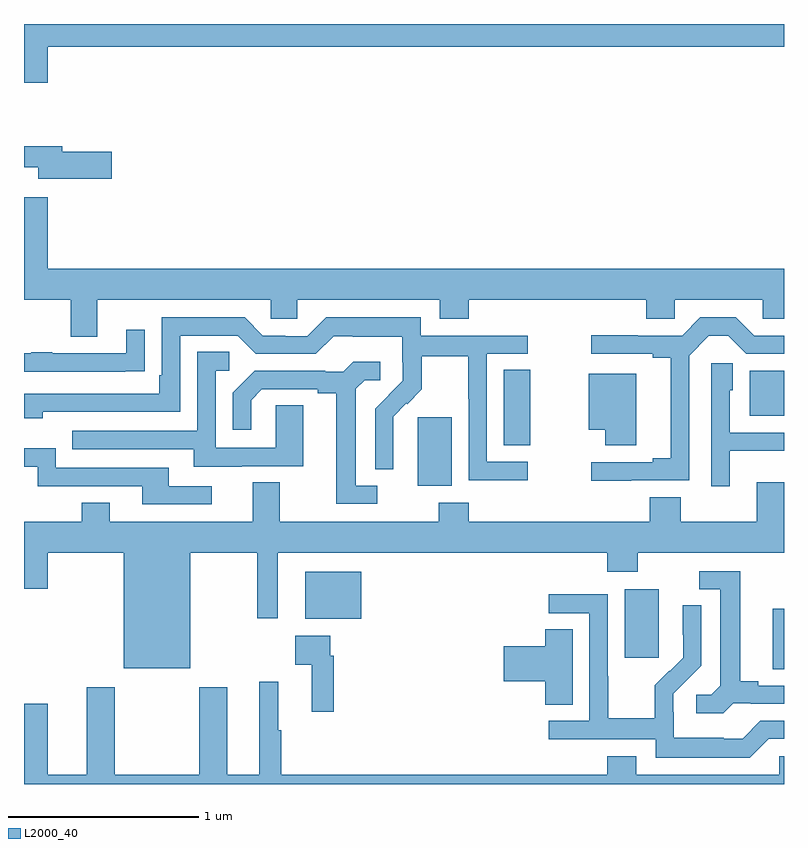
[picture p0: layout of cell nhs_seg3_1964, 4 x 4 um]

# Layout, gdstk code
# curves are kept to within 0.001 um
import gdstk
lib = gdstk.Library(unit=1e-6, precision=1e-09)
def R(c, l, rs):  # rectangles x0, y0, x1, y1
    for r in rs: c.add(gdstk.rectangle(r[:2], r[2:], *l))
def P(c, l, *ps):  # polygons
    for p in ps: c.add(gdstk.Polygon(p, *l))
L2000_40 = (2000, 40)

nhs_seg3_1964 = lib.new_cell('nhs_seg3_1964')
R(nhs_seg3_1964, L2000_40, [(216.941,667.003,217,667.323), (216.161,667.065,216.34,667.426), (214.481,667.271,214.774,667.516), (215.072,667.97,215.251,668.331), (215.525,668.182,215.664,668.579), (216.821,668.339,217,668.575)])
P(nhs_seg3_1964, L2000_40, [(217,670.4),(213,670.4),(213,670.092),(213.124,670.092),(213.124,670.28),(217,670.28)],
  [(213.463,669.728),(213.202,669.728),(213.202,669.757),(213,669.757),(213,669.647),(213.074,669.647),(213.074,669.586),(213.463,669.586)],
  [(213.385,668.948),(214.299,668.948),(214.299,668.85),(214.437,668.85),(214.437,668.948),(215.189,668.948),(215.189,668.849),(215.342,668.849),(215.342,668.948),(216.275,668.948),(216.275,668.85),(216.426,668.85),(216.426,668.948),(216.888,668.948),(216.888,668.85),(217,668.85),(217,669.112),(213.124,669.112),(213.124,669.487),(213,669.487),(213,668.948),(213.245,668.948),(213.245,668.754),(213.385,668.754)],
  [(215.65,668.097),(215.436,668.097),(215.436,668.664),(215.65,668.664),(215.65,668.76),(215.088,668.76),(215.088,668.857),(214.591,668.857),(214.491,668.757),(214.376,668.757),(214.376,668.76),(214.257,668.76),(214.161,668.856),(213.726,668.856),(213.726,668.551),(213.713,668.551),(213.713,668.454),(213,668.454),(213,668.324),(213.098,668.324),(213.098,668.358),(213.822,668.358),(213.822,668.76),(214.125,668.76),(214.221,668.664),(214.536,668.664),(214.629,668.757),(214.729,668.757),(214.729,668.753),(214.992,668.753),(214.992,668.619),(214.994,668.619),(214.994,668.522),(214.848,668.374),(214.848,668.056),(214.944,668.056),(214.943,668.333),(215.013,668.403),(215.016,668.4),(215.093,668.477),(215.093,668.652),(215.338,668.652),(215.338,668.428),(215.34,668.428),(215.34,667.999),(215.65,667.999)],
  [(216.197,667.998),(216.501,667.998),(216.501,668.655),(216.605,668.759),(216.706,668.759),(216.801,668.664),(217,668.664),(217,668.76),(216.843,668.76),(216.747,668.856),(216.56,668.856),(216.464,668.76),(216.231,668.76),(216.231,668.762),(215.985,668.762),(215.985,668.664),(216.308,668.664),(216.308,668.644),(216.404,668.644),(216.404,668.114),(216.308,668.114),(216.308,668.094),(215.985,668.094),(215.985,667.997)],
  [(213.533,668.572),(213.635,668.572),(213.635,668.791),(213.539,668.791),(213.539,668.667),(213.149,668.667),(213.149,668.672),(213.037,668.672),(213.037,668.667),(213,668.667),(213,668.571),(213.533,668.571)],
  [(214.147,668.073),(214.471,668.073),(214.471,668.393),(214.326,668.393),(214.326,668.169),(214.008,668.169),(214.008,668.574),(214.081,668.574),(214.081,668.675),(213.912,668.675),(213.912,668.259),(213.253,668.259),(213.253,668.163),(213.893,668.163),(213.893,668.069),(214.147,668.069)],
  [(214.858,667.971),(214.747,667.971),(214.747,668.479),(214.794,668.526),(214.876,668.526),(214.876,668.623),(214.732,668.623),(214.68,668.571),(214.586,668.571),(214.586,668.574),(214.214,668.574),(214.098,668.458),(214.098,668.265),(214.195,668.265),(214.195,668.421),(214.252,668.478),(214.547,668.478),(214.547,668.456),(214.643,668.456),(214.643,667.875),(214.858,667.875)],
  [(216.715,668.153),(217,668.153),(217,668.25),(216.714,668.25),(216.714,668.472),(216.73,668.472),(216.73,668.615),(216.618,668.615),(216.618,667.968),(216.715,667.968)],
  [(216.223,668.56),(215.972,668.56),(215.972,668.264),(216.058,668.264),(216.058,668.184),(216.223,668.184)],
  [(213.988,667.968),(213.763,667.968),(213.763,668.064),(213.168,668.064),(213.168,668.167),(213,668.167),(213,668.07),(213.072,668.07),(213.072,667.968),(213.623,667.968),(213.623,667.872),(213.988,667.872)],
  [(213.874,667.616),(214.227,667.616),(214.227,667.272),(214.336,667.272),(214.336,667.616),(216.071,667.616),(216.071,667.517),(216.231,667.517),(216.231,667.616),(217,667.616),(217,667.987),(216.857,667.987),(216.857,667.78),(216.457,667.78),(216.457,667.909),(216.293,667.909),(216.293,667.78),(215.342,667.78),(215.342,667.879),(215.182,667.879),(215.182,667.78),(214.345,667.78),(214.345,667.988),(214.205,667.988),(214.205,667.78),(213.451,667.78),(213.451,667.879),(213.304,667.879),(213.304,667.78),(213,667.78),(213,667.428),(213.124,667.428),(213.124,667.616),(213.524,667.616),(213.524,667.01),(213.874,667.01)],
  [(216.732,666.825),(216.826,666.825),(216.826,666.822),(217,666.822),(217,666.918),(216.865,666.918),(216.865,666.941),(216.769,666.941),(216.769,667.521),(216.555,667.521),(216.555,667.425),(216.665,667.425),(216.665,666.917),(216.618,666.87),(216.537,666.87),(216.537,666.773),(216.68,666.773)],
  [(216.921,666.639),(217,666.639),(217,666.732),(216.876,666.732),(216.783,666.639),(216.683,666.639),(216.683,666.643),(216.42,666.643),(216.42,666.777),(216.418,666.777),(216.418,666.874),(216.564,667.022),(216.564,667.34),(216.468,667.34),(216.468,667.186),(216.47,667.186),(216.47,667.064),(216.399,666.993),(216.396,666.996),(216.319,666.919),(216.319,666.745),(216.075,666.745),(216.075,666.968),(216.072,666.968),(216.072,667.398),(215.763,667.398),(215.763,667.299),(215.976,667.299),(215.976,666.732),(215.763,666.732),(215.763,666.636),(216.324,666.636),(216.324,666.539),(216.821,666.539)],
  [(215.887,667.214),(215.744,667.214),(215.744,667.124),(215.526,667.124),(215.526,666.941),(215.744,666.941),(215.744,666.817),(215.887,666.817)],
  [(214.631,667.076),(214.611,667.076),(214.611,667.18),(214.428,667.18),(214.428,667.028),(214.514,667.028),(214.514,666.78),(214.631,666.78)],
  [(217,666.546),(216.975,666.546),(216.975,666.448),(216.223,666.448),(216.223,666.547),(216.071,666.547),(216.071,666.448),(214.355,666.448),(214.355,666.684),(214.337,666.684),(214.337,666.937),(214.238,666.937),(214.238,666.448),(214.069,666.448),(214.069,666.91),(213.922,666.91),(213.922,666.448),(213.477,666.448),(213.477,666.91),(213.329,666.91),(213.329,666.448),(213.124,666.448),(213.124,666.823),(213,666.823),(213,666.4),(217,666.4)])

lib.write_gds('nhs_seg3_1964.gds')
